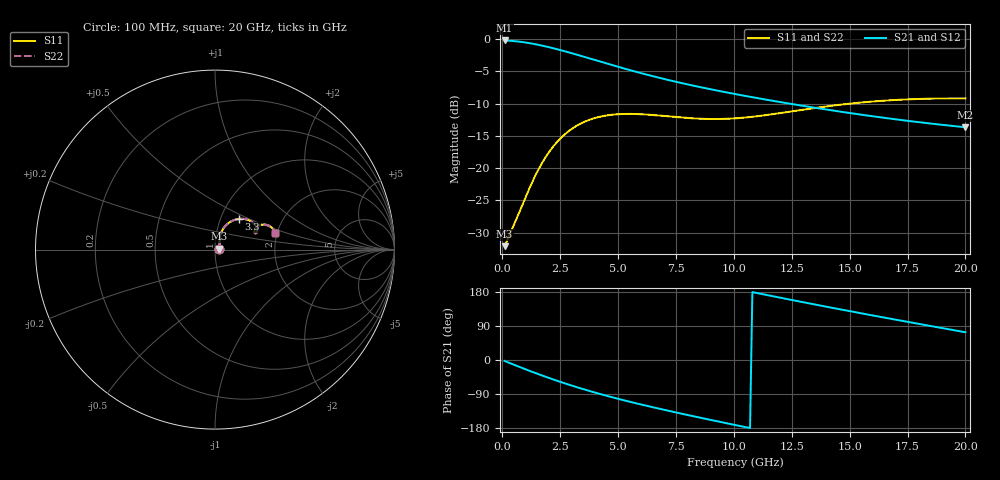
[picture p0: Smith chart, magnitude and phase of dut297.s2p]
! Touchstone file exported from HFSS 2024.1.0
!  File:  C:/UserFiles/LocalFiles/RDL_TSV_Batchsim/temp_RDL_TSV_297_1779468829.aedt
!  Generated:  01:12:10 AM May 23, 2026
!  Design:  RDL_TSV
!  Project:  temp_RDL_TSV_297_1779468829
!  Setup:  Setup1
!  Solution:  Sweep
! Variables:
!  dtsv = 8.75um
!  hbump = 3um
!  htsv = 98.34um
!  ldown = 685.34um
!  lrdl = 502.33um
!  p = 40
!  p1 = 57.74um
!  rhole = 10um
!  subl = 4065.34um
!  t = 450um
!  tdown = 3.1um
!  trdl = 3.42um
!  viad = 10um
!  wdown = 14.6um
!  wrdl = 28.27um
!  xbump = 18um
# GHz S MA R 50.000000
! Terminal data exported
! Port[1] = TM1_1_T1
! Port[2] = TM1_4_T1
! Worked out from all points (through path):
!   200 points, 100 MHz to 20 GHz, reference 50 ohm
!   highest |S21| = -0.22 dB at 100 MHz (marker M1); lowest = -13.7 dB at 20 GHz (marker M2)
!   group delay of S21, straight-line fit = 37.6 ps
!   lowest |S11| = -32.1 dB at 100 MHz (marker M3), VSWR 1.05, Z = 52.5 + j0.6 ohm
!   |S11| at or under -10 dB: start of sweep to 15.04 GHz
!   |S22| runs from -32.1 to -9.2 dB; largest |S21 - S12| = 9.5e-15
!   S11 on the Smith chart (normalised r, x): 100 MHz: 1.05, +0.01; 3.3 GHz: 1.22, +0.44; 20 GHz: 1.95, +0.41
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0.1  0.02478 13.3  0.9755 -2.5  0.9755 -2.5  0.02478 13.3
! Gamma 0 0 0 0
! Port Impedance 50 0 50 0
0.4  0.03299 38.8  0.9682 -10.0  0.9682 -10.0  0.03299 38.8
0.8  0.04842 58.2  0.9517 -19.7  0.9517 -19.7  0.04842 58.2
1.3  0.07827 69.0  0.9213 -31.5  0.9213 -31.5  0.07824 69.0
1.7  0.108 69.8  0.8913 -40.5  0.8913 -40.5  0.108 69.8
2.1  0.1392 67.0  0.8578 -49.2  0.8578 -49.2  0.1391 67.0
2.5  0.1689 62.5  0.8223 -57.6  0.8223 -57.6  0.1688 62.5
2.9  0.1952 57.3  0.7859 -65.6  0.7859 -65.6  0.1951 57.3
3.3  0.2172 52.0  0.7495 -73.3  0.7495 -73.3  0.217 52.0
3.5  0.2264 49.4  0.7315 -77.0  0.7315 -77.0  0.2262 49.4
4.2  0.2495 41.0  0.6714 -89.3  0.6714 -89.3  0.2493 41.0
5  0.2614 33.1  0.6095 -102.4  0.6095 -102.4  0.2612 33.1
5.9  0.2618 26.8  0.5497 -116.0  0.5497 -116.0  0.2616 26.8
6.8  0.2551 23.0  0.4996 -128.9  0.4996 -128.9  0.2549 23.0
8.3  0.2424 21.9  0.4333 -149.1  0.4333 -149.1  0.2422 21.9
10.1  0.2432 25.5  0.3734 -172.1  0.3734 -172.1  0.2431 25.5
11.8  0.2634 28.3  0.3293 166.8  0.3293 166.8  0.2635 28.4
13.4  0.2904 28.3  0.2953 147.6  0.2953 147.6  0.2906 28.3
15  0.3156 26.0  0.2671 128.9  0.2671 128.9  0.316 26.0
16.7  0.3349 22.4  0.2423 109.6  0.2423 109.6  0.3355 22.4
18.3  0.3445 18.8  0.2234 91.9  0.2234 91.9  0.3452 18.8
20  0.3466 15.4  0.2071 73.2  0.2071 73.2  0.3474 15.3
